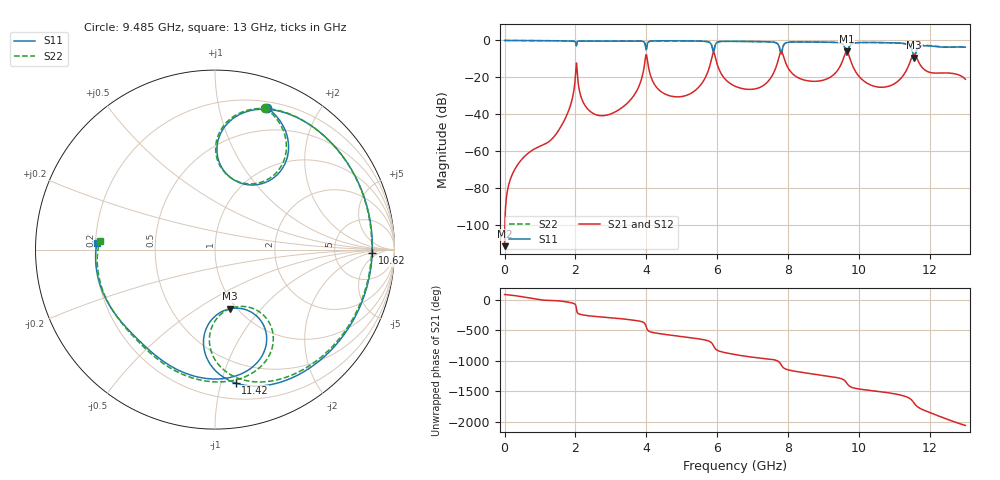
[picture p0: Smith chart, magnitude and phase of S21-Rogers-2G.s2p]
! TOUCHSTONE file generated by CST MICROWAVE STUDIO
! Date and time: Sun Jun 29 16:26:48 2025
! Project name: ResonadorAnillo.cst
! Parameters = {Eeff=2.85062; Er=3.66; H=1.524; L1=22.2107; L2=22.2107; Landa=88.8427; T=0.017; W=3.30928; Wa=3.30928; X=62.4704; Y=62.4704; c=3e+11; f=2e+09; r=14.1398; s=0.3}
! Header version: 2024
! Port assignment regex: !\s*Touchstone port\s*([0-9]+)\s*=\s*(CST MWS port|CST DES external port|CST DES block port)\s*(.+)\s* \(\"(.*)\"\)(\s*mode\s*([0-9]+))?.*
! Touchstone port assignment:
! Touchstone port 1 = CST MWS port 1 ("")
! Touchstone port 2 = CST MWS port 2 ("")
# GHz S DB R 50
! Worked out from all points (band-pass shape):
!   5000 points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, 2.6 MHz to 13 GHz, reference 50 ohm
!   highest |S21| = -5.81 dB at 9.654 GHz (marker M1); lowest = -111.4 dB at 2.6 MHz (marker M2)
!   |S21| within 3 dB of the highest: 7.745 GHz to 7.871 GHz (125.2 MHz wide, 1.6 % of centre); 9.578 GHz to 9.727 GHz (149 MHz wide, 1.54 % of centre)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
!   lowest |S11| = -9.4 dB at 11.56 GHz (marker M3), VSWR 2.03, Z = 46.5 - j34.7 ohm
!   |S11| at or under -10 dB: nowhere
!   |S22| runs from -9.4 to 0.0 dB; largest |S21 - S12| = 1.1e-09
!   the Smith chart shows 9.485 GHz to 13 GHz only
!   S11 on the Smith chart (normalised r, x): 9.485 GHz: 0.26, +1.40; 10.62 GHz: 15, -3; 11.42 GHz: 0.33, -1.11; 13 GHz: 0.21, +0.03
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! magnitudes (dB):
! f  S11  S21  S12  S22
! 2.6 MHz  0.0  -111.4  -111.4  0.0
! 1.526 GHz  -0.2  -48.7  -48.7  -0.2
! 2.02 GHz  -2.3  -13.6  -13.6  -2.2
! 2.171 GHz  -0.3  -31.3  -31.3  -0.3
! 3.167 GHz  -0.3  -38.2  -38.2  -0.3
! 3.7 GHz  -0.3  -28.3  -28.3  -0.3
! 3.999 GHz  -4.9  -7.6  -7.6  -5.0
! 4.337 GHz  -0.2  -26.4  -26.4  -0.2
! 5.286 GHz  -0.3  -28.3  -28.3  -0.3
! 5.897 GHz  -6.8  -6.5  -6.5  -5.9
! 6.503 GHz  -0.5  -24.8  -24.8  -0.5
! 7.311 GHz  -0.7  -24.3  -24.3  -0.7
! 7.808 GHz  -7.1  -5.9  -5.9  -7.3
! 8.668 GHz  -0.8  -22.1  -22.1  -0.9
! 9.485 GHz  -1.5  -13.3  -13.3  -1.5
! 9.654 GHz  -8.0  -5.8  -5.8  -8.0
! 10.62 GHz  -1.1  -25.4  -25.4  -1.2
! 10.83 GHz  -1.2  -24.8  -24.8  -1.3
! 11.42 GHz  -2.5  -12.8  -12.8  -2.8
! 11.56 GHz  -9.4  -7.4  -7.4  -9.2
! 13 GHz  -3.6  -21.0  -21.0  -3.8
! 13 GHz  -3.6  -21.0  -21.0  -3.8
